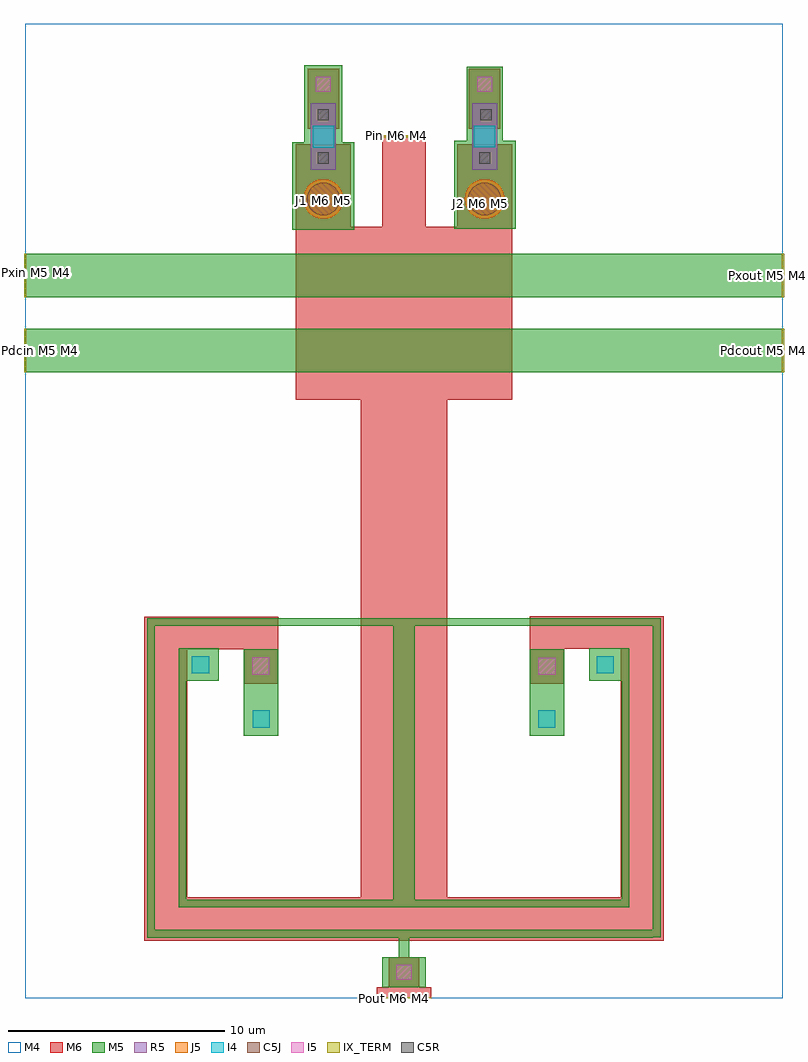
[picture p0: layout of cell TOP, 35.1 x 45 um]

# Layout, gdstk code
import gdstk
lib = gdstk.Library(unit=1e-6, precision=1e-09)
def R(c, l, rs):  # rectangles x0, y0, x1, y1
    for r in rs: c.add(gdstk.rectangle(r[:2], r[2:], *l))
def P(c, l, *ps):  # polygons
    for p in ps: c.add(gdstk.Polygon(p, *l))
IX_TERM = (19, 0)
M4 = (40, 0)
I4 = (41, 0)
M5 = (50, 0)
J5 = (51, 0)
R5 = (52, 0)
I5 = (54, 0)
C5J = (55, 0)
C5R = (56, 0)
M6 = (60, 0)

top = lib.new_cell('TOP')
R(top, IX_TERM, [(10.75,-32.034,13.25,-31.984), (11,7.716,13,7.817)])
R(top, M4, [(-5.5,-32.033,29.5,12.967)])
R(top, I4, [(18.192,-19.541,18.992,-18.741), (5.004,-19.54,5.799,-18.741), (2.196,-17.033,2.996,-16.233), (20.896,-17.031,21.696,-16.231), (7.776,7.249,8.776,8.249), (15.225,7.255,16.225,8.255)])
R(top, M5, [(11,-31.533,13,-30.133), (11.75,-30.133,12.25,-29.233), (0.148,-29.233,0.498,-14.833), (0.498,-29.233,23.498,-28.883), (23.498,-29.231,23.848,-14.831), (1.6,-27.832,22.4,-27.482), (1.596,-27.483,1.946,-15.883), (11.5,-27.483,12.5,-14.483), (22.046,-27.481,22.396,-15.881), (17.801,-19.917,19.402,-15.919), (4.6,-19.908,6.2,-15.908), (1.946,-17.383,3.446,-15.883), (20.546,-17.381,22.046,-15.881), (0.148,-14.833,23.848,-14.483), (-5.5,-3.126,29.5,-1.126), (-5.5,0.34,29.5,2.34), (6.85,3.449,9.7,7.499), (14.31,3.509,17.16,7.559), (7.4,7.499,9.15,11.049), (14.895,7.559,16.555,10.989)])
P(top, J5, [(8.21,3.964),(8.21,3.969),(8.16,3.969),(8.16,3.974),(8.125,3.974),(8.125,3.979),(8.1,3.979),(8.1,3.984),(8.075,3.984),(8.075,3.989),(8.055,3.989),(8.055,3.994),(8.035,3.994),(8.035,3.999),(8.015,3.999),(8.015,4.004),(8,4.004),(8,4.009),(7.985,4.009),(7.985,4.014),(7.97,4.014),(7.97,4.019),(7.955,4.019),(7.955,4.024),(7.945,4.024),(7.945,4.029),(7.93,4.029),(7.93,4.034),(7.92,4.034),(7.92,4.039),(7.91,4.039),(7.91,4.044),(7.895,4.044),(7.895,4.049),(7.885,4.049),(7.885,4.054),(7.875,4.054),(7.875,4.059),(7.865,4.059),(7.865,4.064),(7.855,4.064),(7.855,4.069),(7.85,4.069),(7.85,4.074),(7.835,4.074),(7.835,4.079),(7.83,4.079),(7.83,4.084),(7.82,4.084),(7.82,4.089),(7.81,4.089),(7.81,4.094),(7.8,4.094),(7.8,4.099),(7.795,4.099),(7.795,4.104),(7.785,4.104),(7.785,4.109),(7.78,4.109),(7.78,4.114),(7.77,4.114),(7.77,4.119),(7.765,4.119),(7.765,4.124),(7.755,4.124),(7.755,4.129),(7.75,4.129),(7.75,4.134),(7.74,4.134),(7.74,4.139),(7.735,4.139),(7.735,4.144),(7.73,4.144),(7.73,4.149),(7.72,4.149),(7.72,4.154),(7.715,4.154),(7.715,4.159),(7.71,4.159),(7.71,4.164),(7.705,4.164),(7.705,4.169),(7.695,4.169),(7.695,4.174),(7.69,4.174),(7.69,4.179),(7.685,4.179),(7.685,4.184),(7.68,4.184),(7.68,4.189),(7.675,4.189),(7.675,4.194),(7.67,4.194),(7.67,4.199),(7.665,4.199),(7.665,4.204),(7.66,4.204),(7.66,4.209),(7.655,4.209),(7.655,4.214),(7.65,4.214),(7.65,4.219),(7.645,4.219),(7.645,4.224),(7.64,4.224),(7.64,4.229),(7.635,4.229),(7.635,4.234),(7.63,4.234),(7.63,4.239),(7.625,4.239),(7.625,4.244),(7.62,4.244),(7.62,4.249),(7.615,4.249),(7.615,4.254),(7.61,4.254),(7.61,4.259),(7.605,4.259),(7.605,4.264),(7.6,4.264),(7.6,4.269),(7.595,4.269),(7.595,4.274),(7.585,4.274),(7.585,4.289),(7.58,4.289),(7.58,4.294),(7.575,4.294),(7.575,4.299),(7.565,4.299),(7.565,4.314),(7.56,4.314),(7.56,4.319),(7.555,4.319),(7.555,4.324),(7.545,4.324),(7.545,4.339),(7.54,4.339),(7.54,4.344),(7.53,4.344),(7.53,4.359),(7.52,4.359),(7.52,4.374),(7.51,4.374),(7.51,4.384),(7.505,4.384),(7.505,4.399),(7.495,4.399),(7.495,4.414),(7.485,4.414),(7.485,4.424),(7.48,4.424),(7.48,4.434),(7.475,4.434),(7.475,4.444),(7.47,4.444),(7.47,4.454),(7.465,4.454),(7.465,4.464),(7.46,4.464),(7.46,4.474),(7.455,4.474),(7.455,4.484),(7.45,4.484),(7.45,4.494),(7.445,4.494),(7.445,4.504),(7.44,4.504),(7.44,4.514),(7.435,4.514),(7.435,4.529),(7.43,4.529),(7.43,4.539),(7.425,4.539),(7.425,4.554),(7.42,4.554),(7.42,4.569),(7.415,4.569),(7.415,4.579),(7.41,4.579),(7.41,4.594),(7.405,4.594),(7.405,4.614),(7.4,4.614),(7.4,4.629),(7.395,4.629),(7.395,4.649),(7.39,4.649),(7.39,4.669),(7.385,4.669),(7.385,4.694),(7.38,4.694),(7.38,4.719),(7.375,4.719),(7.375,4.754),(7.37,4.754),(7.37,4.794),(7.365,4.794),(7.365,4.949),(7.37,4.949),(7.37,4.994),(7.375,4.994),(7.375,5.029),(7.38,5.029),(7.38,5.054),(7.385,5.054),(7.385,5.079),(7.39,5.079),(7.39,5.099),(7.395,5.099),(7.395,5.119),(7.4,5.119),(7.4,5.134),(7.405,5.134),(7.405,5.154),(7.41,5.154),(7.41,5.164),(7.415,5.164),(7.415,5.179),(7.42,5.179),(7.42,5.194),(7.425,5.194),(7.425,5.204),(7.43,5.204),(7.43,5.219),(7.435,5.219),(7.435,5.229),(7.44,5.229),(7.44,5.244),(7.445,5.244),(7.445,5.254),(7.45,5.254),(7.45,5.264),(7.455,5.264),(7.455,5.274),(7.46,5.274),(7.46,5.284),(7.465,5.284),(7.465,5.294),(7.47,5.294),(7.47,5.304),(7.475,5.304),(7.475,5.314),(7.48,5.314),(7.48,5.324),(7.485,5.324),(7.485,5.339),(7.495,5.339),(7.495,5.354),(7.505,5.354),(7.505,5.364),(7.51,5.364),(7.51,5.379),(7.52,5.379),(7.52,5.394),(7.525,5.394),(7.525,5.399),(7.535,5.399),(7.535,5.414),(7.54,5.414),(7.54,5.419),(7.55,5.419),(7.55,5.434),(7.555,5.434),(7.555,5.439),(7.565,5.439),(7.565,5.454),(7.57,5.454),(7.57,5.459),(7.575,5.459),(7.575,5.464),(7.58,5.464),(7.58,5.469),(7.585,5.469),(7.585,5.474),(7.59,5.474),(7.59,5.479),(7.6,5.479),(7.6,5.494),(7.605,5.494),(7.605,5.499),(7.61,5.499),(7.61,5.504),(7.615,5.504),(7.615,5.509),(7.62,5.509),(7.62,5.514),(7.625,5.514),(7.625,5.519),(7.63,5.519),(7.63,5.524),(7.635,5.524),(7.635,5.529),(7.645,5.529),(7.645,5.534),(7.65,5.534),(7.65,5.539),(7.655,5.539),(7.655,5.544),(7.66,5.544),(7.66,5.549),(7.665,5.549),(7.665,5.554),(7.67,5.554),(7.67,5.559),(7.675,5.559),(7.675,5.564),(7.68,5.564),(7.68,5.569),(7.685,5.569),(7.685,5.574),(7.695,5.574),(7.695,5.579),(7.7,5.579),(7.7,5.584),(7.705,5.584),(7.705,5.589),(7.71,5.589),(7.71,5.594),(7.72,5.594),(7.72,5.599),(7.725,5.599),(7.725,5.604),(7.73,5.604),(7.73,5.609),(7.74,5.609),(7.74,5.614),(7.745,5.614),(7.745,5.619),(7.75,5.619),(7.75,5.624),(7.76,5.624),(7.76,5.629),(7.765,5.629),(7.765,5.634),(7.775,5.634),(7.775,5.639),(7.785,5.639),(7.785,5.644),(7.79,5.644),(7.79,5.649),(7.8,5.649),(7.8,5.654),(7.805,5.654),(7.805,5.659),(7.815,5.659),(7.815,5.664),(7.825,5.664),(7.825,5.669),(7.835,5.669),(7.835,5.674),(7.84,5.674),(7.84,5.679),(7.85,5.679),(7.85,5.684),(7.86,5.684),(7.86,5.689),(7.87,5.689),(7.87,5.694),(7.88,5.694),(7.88,5.699),(7.895,5.699),(7.895,5.704),(7.9,5.704),(7.9,5.709),(7.915,5.709),(7.915,5.714),(7.93,5.714),(7.93,5.719),(7.94,5.719),(7.94,5.724),(7.95,5.724),(7.95,5.729),(7.965,5.729),(7.965,5.734),(7.98,5.734),(7.98,5.739),(7.995,5.739),(7.995,5.744),(8.01,5.744),(8.01,5.749),(8.025,5.749),(8.025,5.754),(8.045,5.754),(8.045,5.759),(8.07,5.759),(8.07,5.764),(8.09,5.764),(8.09,5.769),(8.115,5.769),(8.115,5.774),(8.145,5.774),(8.145,5.779),(8.19,5.779),(8.19,5.784),(8.36,5.784),(8.36,5.779),(8.4,5.779),(8.4,5.774),(8.435,5.774),(8.435,5.769),(8.455,5.769),(8.455,5.764),(8.48,5.764),(8.48,5.759),(8.5,5.759),(8.5,5.754),(8.52,5.754),(8.52,5.749),(8.535,5.749),(8.535,5.744),(8.555,5.744),(8.555,5.739),(8.57,5.739),(8.57,5.734),(8.58,5.734),(8.58,5.729),(8.595,5.729),(8.595,5.724),(8.61,5.724),(8.61,5.719),(8.62,5.719),(8.62,5.714),(8.635,5.714),(8.635,5.709),(8.645,5.709),(8.645,5.704),(8.655,5.704),(8.655,5.699),(8.665,5.699),(8.665,5.694),(8.675,5.694),(8.675,5.689),(8.685,5.689),(8.685,5.684),(8.695,5.684),(8.695,5.679),(8.705,5.679),(8.705,5.674),(8.715,5.674),(8.715,5.669),(8.725,5.669),(8.725,5.664),(8.73,5.664),(8.73,5.659),(8.74,5.659),(8.74,5.654),(8.75,5.654),(8.75,5.649),(8.755,5.649),(8.755,5.644),(8.765,5.644),(8.765,5.639),(8.77,5.639),(8.77,5.634),(8.78,5.634),(8.78,5.629),(8.79,5.629),(8.79,5.624),(8.795,5.624),(8.795,5.619),(8.805,5.619),(8.805,5.614),(8.81,5.614),(8.81,5.609),(8.815,5.609),(8.815,5.604),(8.825,5.604),(8.825,5.599),(8.83,5.599),(8.83,5.594),(8.835,5.594),(8.835,5.589),(8.84,5.589),(8.84,5.584),(8.85,5.584),(8.85,5.579),(8.855,5.579),(8.855,5.574),(8.86,5.574),(8.86,5.569),(8.865,5.569),(8.865,5.564),(8.87,5.564),(8.87,5.559),(8.88,5.559),(8.88,5.554),(8.885,5.554),(8.885,5.549),(8.89,5.549),(8.89,5.544),(8.895,5.544),(8.895,5.539),(8.9,5.539),(8.9,5.534),(8.905,5.534),(8.905,5.529),(8.91,5.529),(8.91,5.524),(8.92,5.524),(8.92,5.509),(8.925,5.509),(8.925,5.504),(8.93,5.504),(8.93,5.499),(8.935,5.499),(8.935,5.494),(8.94,5.494),(8.94,5.489),(8.945,5.489),(8.945,5.484),(8.95,5.484),(8.95,5.479),(8.955,5.479),(8.955,5.474),(8.96,5.474),(8.96,5.469),(8.97,5.469),(8.97,5.454),(8.975,5.454),(8.975,5.449),(8.98,5.449),(8.98,5.444),(8.99,5.444),(8.99,5.429),(8.995,5.429),(8.995,5.424),(9.005,5.424),(9.005,5.409),(9.01,5.409),(9.01,5.404),(9.02,5.404),(9.02,5.389),(9.03,5.389),(9.03,5.374),(9.04,5.374),(9.04,5.359),(9.05,5.359),(9.05,5.349),(9.055,5.349),(9.055,5.334),(9.065,5.334),(9.065,5.324),(9.07,5.324),(9.07,5.314),(9.075,5.314),(9.075,5.299),(9.085,5.299),(9.085,5.279),(9.095,5.279),(9.095,5.259),(9.105,5.259),(9.105,5.244),(9.11,5.244),(9.11,5.234),(9.115,5.234),(9.115,5.224),(9.12,5.224),(9.12,5.209),(9.125,5.209),(9.125,5.199),(9.13,5.199),(9.13,5.184),(9.135,5.184),(9.135,5.169),(9.14,5.169),(9.14,5.154),(9.145,5.154),(9.145,5.139),(9.15,5.139),(9.15,5.119),(9.155,5.119),(9.155,5.104),(9.16,5.104),(9.16,5.079),(9.165,5.079),(9.165,5.059),(9.17,5.059),(9.17,5.029),(9.175,5.029),(9.175,4.999),(9.18,4.999),(9.18,4.954),(9.185,4.954),(9.185,4.799),(9.18,4.799),(9.18,4.754),(9.175,4.754),(9.175,4.724),(9.17,4.724),(9.17,4.694),(9.165,4.694),(9.165,4.669),(9.16,4.669),(9.16,4.649),(9.155,4.649),(9.155,4.634),(9.15,4.634),(9.15,4.614),(9.145,4.614),(9.145,4.599),(9.14,4.599),(9.14,4.584),(9.135,4.584),(9.135,4.569),(9.13,4.569),(9.13,4.554),(9.125,4.554),(9.125,4.544),(9.12,4.544),(9.12,4.529),(9.115,4.529),(9.115,4.519),(9.11,4.519),(9.11,4.509),(9.105,4.509),(9.105,4.494),(9.1,4.494),(9.1,4.484),(9.095,4.484),(9.095,4.474),(9.09,4.474),(9.09,4.464),(9.085,4.464),(9.085,4.454),(9.08,4.454),(9.08,4.444),(9.075,4.444),(9.075,4.429),(9.065,4.429),(9.065,4.419),(9.06,4.419),(9.06,4.409),(9.055,4.409),(9.055,4.394),(9.045,4.394),(9.045,4.379),(9.035,4.379),(9.035,4.364),(9.025,4.364),(9.025,4.349),(9.015,4.349),(9.015,4.334),(9.01,4.334),(9.01,4.329),(9,4.329),(9,4.314),(8.995,4.314),(8.995,4.309),(8.99,4.309),(8.99,4.304),(8.98,4.304),(8.98,4.289),(8.975,4.289),(8.975,4.284),(8.97,4.284),(8.97,4.279),(8.965,4.279),(8.965,4.274),(8.96,4.274),(8.96,4.269),(8.955,4.269),(8.955,4.264),(8.95,4.264),(8.95,4.259),(8.945,4.259),(8.945,4.254),(8.94,4.254),(8.94,4.249),(8.935,4.249),(8.935,4.244),(8.93,4.244),(8.93,4.239),(8.925,4.239),(8.925,4.234),(8.92,4.234),(8.92,4.229),(8.915,4.229),(8.915,4.224),(8.91,4.224),(8.91,4.219),(8.905,4.219),(8.905,4.214),(8.9,4.214),(8.9,4.209),(8.895,4.209),(8.895,4.204),(8.89,4.204),(8.89,4.199),(8.885,4.199),(8.885,4.194),(8.88,4.194),(8.88,4.189),(8.875,4.189),(8.875,4.184),(8.865,4.184),(8.865,4.179),(8.86,4.179),(8.86,4.174),(8.855,4.174),(8.855,4.169),(8.85,4.169),(8.85,4.164),(8.84,4.164),(8.84,4.159),(8.835,4.159),(8.835,4.154),(8.83,4.154),(8.83,4.149),(8.825,4.149),(8.825,4.144),(8.815,4.144),(8.815,4.139),(8.81,4.139),(8.81,4.134),(8.8,4.134),(8.8,4.129),(8.795,4.129),(8.795,4.124),(8.79,4.124),(8.79,4.119),(8.78,4.119),(8.78,4.114),(8.775,4.114),(8.775,4.109),(8.765,4.109),(8.765,4.104),(8.755,4.104),(8.755,4.099),(8.75,4.099),(8.75,4.094),(8.74,4.094),(8.74,4.089),(8.735,4.089),(8.735,4.084),(8.725,4.084),(8.725,4.079),(8.715,4.079),(8.715,4.074),(8.705,4.074),(8.705,4.069),(8.695,4.069),(8.695,4.064),(8.685,4.064),(8.685,4.059),(8.675,4.059),(8.675,4.054),(8.665,4.054),(8.665,4.049),(8.655,4.049),(8.655,4.044),(8.645,4.044),(8.645,4.039),(8.635,4.039),(8.635,4.034),(8.62,4.034),(8.62,4.029),(8.605,4.029),(8.605,4.024),(8.595,4.024),(8.595,4.019),(8.58,4.019),(8.58,4.014),(8.565,4.014),(8.565,4.009),(8.55,4.009),(8.55,4.004),(8.535,4.004),(8.535,3.999),(8.515,3.999),(8.515,3.994),(8.5,3.994),(8.5,3.989),(8.48,3.989),(8.48,3.984),(8.455,3.984),(8.455,3.979),(8.425,3.979),(8.425,3.974),(8.39,3.974),(8.39,3.969),(8.34,3.969),(8.34,3.964)],
  [(15.66,3.964),(15.66,3.969),(15.61,3.969),(15.61,3.974),(15.575,3.974),(15.575,3.979),(15.55,3.979),(15.55,3.984),(15.525,3.984),(15.525,3.989),(15.505,3.989),(15.505,3.994),(15.485,3.994),(15.485,3.999),(15.465,3.999),(15.465,4.004),(15.45,4.004),(15.45,4.009),(15.435,4.009),(15.435,4.014),(15.42,4.014),(15.42,4.019),(15.405,4.019),(15.405,4.024),(15.395,4.024),(15.395,4.029),(15.38,4.029),(15.38,4.034),(15.37,4.034),(15.37,4.039),(15.36,4.039),(15.36,4.044),(15.345,4.044),(15.345,4.049),(15.335,4.049),(15.335,4.054),(15.325,4.054),(15.325,4.059),(15.315,4.059),(15.315,4.064),(15.305,4.064),(15.305,4.069),(15.3,4.069),(15.3,4.074),(15.285,4.074),(15.285,4.079),(15.28,4.079),(15.28,4.084),(15.27,4.084),(15.27,4.089),(15.26,4.089),(15.26,4.094),(15.25,4.094),(15.25,4.099),(15.245,4.099),(15.245,4.104),(15.235,4.104),(15.235,4.109),(15.23,4.109),(15.23,4.114),(15.22,4.114),(15.22,4.119),(15.215,4.119),(15.215,4.124),(15.205,4.124),(15.205,4.129),(15.2,4.129),(15.2,4.134),(15.19,4.134),(15.19,4.139),(15.185,4.139),(15.185,4.144),(15.18,4.144),(15.18,4.149),(15.17,4.149),(15.17,4.154),(15.165,4.154),(15.165,4.159),(15.16,4.159),(15.16,4.164),(15.155,4.164),(15.155,4.169),(15.145,4.169),(15.145,4.174),(15.14,4.174),(15.14,4.179),(15.135,4.179),(15.135,4.184),(15.13,4.184),(15.13,4.189),(15.125,4.189),(15.125,4.194),(15.12,4.194),(15.12,4.199),(15.115,4.199),(15.115,4.204),(15.11,4.204),(15.11,4.209),(15.105,4.209),(15.105,4.214),(15.1,4.214),(15.1,4.219),(15.095,4.219),(15.095,4.224),(15.09,4.224),(15.09,4.229),(15.085,4.229),(15.085,4.234),(15.08,4.234),(15.08,4.239),(15.075,4.239),(15.075,4.244),(15.07,4.244),(15.07,4.249),(15.065,4.249),(15.065,4.254),(15.06,4.254),(15.06,4.259),(15.055,4.259),(15.055,4.264),(15.05,4.264),(15.05,4.269),(15.045,4.269),(15.045,4.274),(15.035,4.274),(15.035,4.289),(15.03,4.289),(15.03,4.294),(15.025,4.294),(15.025,4.299),(15.015,4.299),(15.015,4.314),(15.01,4.314),(15.01,4.319),(15.005,4.319),(15.005,4.324),(14.995,4.324),(14.995,4.339),(14.99,4.339),(14.99,4.344),(14.98,4.344),(14.98,4.359),(14.97,4.359),(14.97,4.374),(14.96,4.374),(14.96,4.384),(14.955,4.384),(14.955,4.399),(14.945,4.399),(14.945,4.414),(14.935,4.414),(14.935,4.424),(14.93,4.424),(14.93,4.434),(14.925,4.434),(14.925,4.444),(14.92,4.444),(14.92,4.454),(14.915,4.454),(14.915,4.464),(14.91,4.464),(14.91,4.474),(14.905,4.474),(14.905,4.484),(14.9,4.484),(14.9,4.494),(14.895,4.494),(14.895,4.504),(14.89,4.504),(14.89,4.514),(14.885,4.514),(14.885,4.529),(14.88,4.529),(14.88,4.539),(14.875,4.539),(14.875,4.554),(14.87,4.554),(14.87,4.569),(14.865,4.569),(14.865,4.579),(14.86,4.579),(14.86,4.594),(14.855,4.594),(14.855,4.614),(14.85,4.614),(14.85,4.629),(14.845,4.629),(14.845,4.649),(14.84,4.649),(14.84,4.669),(14.835,4.669),(14.835,4.694),(14.83,4.694),(14.83,4.719),(14.825,4.719),(14.825,4.754),(14.82,4.754),(14.82,4.794),(14.815,4.794),(14.815,4.949),(14.82,4.949),(14.82,4.994),(14.825,4.994),(14.825,5.029),(14.83,5.029),(14.83,5.054),(14.835,5.054),(14.835,5.079),(14.84,5.079),(14.84,5.099),(14.845,5.099),(14.845,5.119),(14.85,5.119),(14.85,5.134),(14.855,5.134),(14.855,5.154),(14.86,5.154),(14.86,5.164),(14.865,5.164),(14.865,5.179),(14.87,5.179),(14.87,5.194),(14.875,5.194),(14.875,5.204),(14.88,5.204),(14.88,5.219),(14.885,5.219),(14.885,5.229),(14.89,5.229),(14.89,5.244),(14.895,5.244),(14.895,5.254),(14.9,5.254),(14.9,5.264),(14.905,5.264),(14.905,5.274),(14.91,5.274),(14.91,5.284),(14.915,5.284),(14.915,5.294),(14.92,5.294),(14.92,5.304),(14.925,5.304),(14.925,5.314),(14.93,5.314),(14.93,5.324),(14.935,5.324),(14.935,5.339),(14.945,5.339),(14.945,5.354),(14.955,5.354),(14.955,5.364),(14.96,5.364),(14.96,5.379),(14.97,5.379),(14.97,5.394),(14.975,5.394),(14.975,5.399),(14.985,5.399),(14.985,5.414),(14.99,5.414),(14.99,5.419),(15,5.419),(15,5.434),(15.005,5.434),(15.005,5.439),(15.015,5.439),(15.015,5.454),(15.02,5.454),(15.02,5.459),(15.025,5.459),(15.025,5.464),(15.03,5.464),(15.03,5.469),(15.035,5.469),(15.035,5.474),(15.04,5.474),(15.04,5.479),(15.05,5.479),(15.05,5.494),(15.055,5.494),(15.055,5.499),(15.06,5.499),(15.06,5.504),(15.065,5.504),(15.065,5.509),(15.07,5.509),(15.07,5.514),(15.075,5.514),(15.075,5.519),(15.08,5.519),(15.08,5.524),(15.085,5.524),(15.085,5.529),(15.095,5.529),(15.095,5.534),(15.1,5.534),(15.1,5.539),(15.105,5.539),(15.105,5.544),(15.11,5.544),(15.11,5.549),(15.115,5.549),(15.115,5.554),(15.12,5.554),(15.12,5.559),(15.125,5.559),(15.125,5.564),(15.13,5.564),(15.13,5.569),(15.135,5.569),(15.135,5.574),(15.145,5.574),(15.145,5.579),(15.15,5.579),(15.15,5.584),(15.155,5.584),(15.155,5.589),(15.16,5.589),(15.16,5.594),(15.17,5.594),(15.17,5.599),(15.175,5.599),(15.175,5.604),(15.18,5.604),(15.18,5.609),(15.19,5.609),(15.19,5.614),(15.195,5.614),(15.195,5.619),(15.2,5.619),(15.2,5.624),(15.21,5.624),(15.21,5.629),(15.215,5.629),(15.215,5.634),(15.225,5.634),(15.225,5.639),(15.235,5.639),(15.235,5.644),(15.24,5.644),(15.24,5.649),(15.25,5.649),(15.25,5.654),(15.255,5.654),(15.255,5.659),(15.265,5.659),(15.265,5.664),(15.275,5.664),(15.275,5.669),(15.285,5.669),(15.285,5.674),(15.29,5.674),(15.29,5.679),(15.3,5.679),(15.3,5.684),(15.31,5.684),(15.31,5.689),(15.32,5.689),(15.32,5.694),(15.33,5.694),(15.33,5.699),(15.345,5.699),(15.345,5.704),(15.35,5.704),(15.35,5.709),(15.365,5.709),(15.365,5.714),(15.38,5.714),(15.38,5.719),(15.39,5.719),(15.39,5.724),(15.4,5.724),(15.4,5.729),(15.415,5.729),(15.415,5.734),(15.43,5.734),(15.43,5.739),(15.445,5.739),(15.445,5.744),(15.46,5.744),(15.46,5.749),(15.475,5.749),(15.475,5.754),(15.495,5.754),(15.495,5.759),(15.52,5.759),(15.52,5.764),(15.54,5.764),(15.54,5.769),(15.565,5.769),(15.565,5.774),(15.595,5.774),(15.595,5.779),(15.64,5.779),(15.64,5.784),(15.81,5.784),(15.81,5.779),(15.85,5.779),(15.85,5.774),(15.885,5.774),(15.885,5.769),(15.905,5.769),(15.905,5.764),(15.93,5.764),(15.93,5.759),(15.95,5.759),(15.95,5.754),(15.97,5.754),(15.97,5.749),(15.985,5.749),(15.985,5.744),(16.005,5.744),(16.005,5.739),(16.02,5.739),(16.02,5.734),(16.03,5.734),(16.03,5.729),(16.045,5.729),(16.045,5.724),(16.06,5.724),(16.06,5.719),(16.07,5.719),(16.07,5.714),(16.085,5.714),(16.085,5.709),(16.095,5.709),(16.095,5.704),(16.105,5.704),(16.105,5.699),(16.115,5.699),(16.115,5.694),(16.125,5.694),(16.125,5.689),(16.135,5.689),(16.135,5.684),(16.145,5.684),(16.145,5.679),(16.155,5.679),(16.155,5.674),(16.165,5.674),(16.165,5.669),(16.175,5.669),(16.175,5.664),(16.18,5.664),(16.18,5.659),(16.19,5.659),(16.19,5.654),(16.2,5.654),(16.2,5.649),(16.205,5.649),(16.205,5.644),(16.215,5.644),(16.215,5.639),(16.22,5.639),(16.22,5.634),(16.23,5.634),(16.23,5.629),(16.24,5.629),(16.24,5.624),(16.245,5.624),(16.245,5.619),(16.255,5.619),(16.255,5.614),(16.26,5.614),(16.26,5.609),(16.265,5.609),(16.265,5.604),(16.275,5.604),(16.275,5.599),(16.28,5.599),(16.28,5.594),(16.285,5.594),(16.285,5.589),(16.29,5.589),(16.29,5.584),(16.3,5.584),(16.3,5.579),(16.305,5.579),(16.305,5.574),(16.31,5.574),(16.31,5.569),(16.315,5.569),(16.315,5.564),(16.32,5.564),(16.32,5.559),(16.33,5.559),(16.33,5.554),(16.335,5.554),(16.335,5.549),(16.34,5.549),(16.34,5.544),(16.345,5.544),(16.345,5.539),(16.35,5.539),(16.35,5.534),(16.355,5.534),(16.355,5.529),(16.36,5.529),(16.36,5.524),(16.37,5.524),(16.37,5.509),(16.375,5.509),(16.375,5.504),(16.38,5.504),(16.38,5.499),(16.385,5.499),(16.385,5.494),(16.39,5.494),(16.39,5.489),(16.395,5.489),(16.395,5.484),(16.4,5.484),(16.4,5.479),(16.405,5.479),(16.405,5.474),(16.41,5.474),(16.41,5.469),(16.42,5.469),(16.42,5.454),(16.425,5.454),(16.425,5.449),(16.43,5.449),(16.43,5.444),(16.44,5.444),(16.44,5.429),(16.445,5.429),(16.445,5.424),(16.455,5.424),(16.455,5.409),(16.46,5.409),(16.46,5.404),(16.47,5.404),(16.47,5.389),(16.48,5.389),(16.48,5.374),(16.49,5.374),(16.49,5.359),(16.5,5.359),(16.5,5.349),(16.505,5.349),(16.505,5.334),(16.515,5.334),(16.515,5.324),(16.52,5.324),(16.52,5.314),(16.525,5.314),(16.525,5.299),(16.535,5.299),(16.535,5.279),(16.545,5.279),(16.545,5.259),(16.555,5.259),(16.555,5.244),(16.56,5.244),(16.56,5.234),(16.565,5.234),(16.565,5.224),(16.57,5.224),(16.57,5.209),(16.575,5.209),(16.575,5.199),(16.58,5.199),(16.58,5.184),(16.585,5.184),(16.585,5.169),(16.59,5.169),(16.59,5.154),(16.595,5.154),(16.595,5.139),(16.6,5.139),(16.6,5.119),(16.605,5.119),(16.605,5.104),(16.61,5.104),(16.61,5.079),(16.615,5.079),(16.615,5.059),(16.62,5.059),(16.62,5.029),(16.625,5.029),(16.625,4.999),(16.63,4.999),(16.63,4.954),(16.635,4.954),(16.635,4.799),(16.63,4.799),(16.63,4.754),(16.625,4.754),(16.625,4.724),(16.62,4.724),(16.62,4.694),(16.615,4.694),(16.615,4.669),(16.61,4.669),(16.61,4.649),(16.605,4.649),(16.605,4.634),(16.6,4.634),(16.6,4.614),(16.595,4.614),(16.595,4.599),(16.59,4.599),(16.59,4.584),(16.585,4.584),(16.585,4.569),(16.58,4.569),(16.58,4.554),(16.575,4.554),(16.575,4.544),(16.57,4.544),(16.57,4.529),(16.565,4.529),(16.565,4.519),(16.56,4.519),(16.56,4.509),(16.555,4.509),(16.555,4.494),(16.55,4.494),(16.55,4.484),(16.545,4.484),(16.545,4.474),(16.54,4.474),(16.54,4.464),(16.535,4.464),(16.535,4.454),(16.53,4.454),(16.53,4.444),(16.525,4.444),(16.525,4.429),(16.515,4.429),(16.515,4.419),(16.51,4.419),(16.51,4.409),(16.505,4.409),(16.505,4.394),(16.495,4.394),(16.495,4.379),(16.485,4.379),(16.485,4.364),(16.475,4.364),(16.475,4.349),(16.465,4.349),(16.465,4.334),(16.46,4.334),(16.46,4.329),(16.45,4.329),(16.45,4.314),(16.445,4.314),(16.445,4.309),(16.44,4.309),(16.44,4.304),(16.43,4.304),(16.43,4.289),(16.425,4.289),(16.425,4.284),(16.42,4.284),(16.42,4.279),(16.415,4.279),(16.415,4.274),(16.41,4.274),(16.41,4.269),(16.405,4.269),(16.405,4.264),(16.4,4.264),(16.4,4.259),(16.395,4.259),(16.395,4.254),(16.39,4.254),(16.39,4.249),(16.385,4.249),(16.385,4.244),(16.38,4.244),(16.38,4.239),(16.375,4.239),(16.375,4.234),(16.37,4.234),(16.37,4.229),(16.365,4.229),(16.365,4.224),(16.36,4.224),(16.36,4.219),(16.355,4.219),(16.355,4.214),(16.35,4.214),(16.35,4.209),(16.345,4.209),(16.345,4.204),(16.34,4.204),(16.34,4.199),(16.335,4.199),(16.335,4.194),(16.33,4.194),(16.33,4.189),(16.325,4.189),(16.325,4.184),(16.315,4.184),(16.315,4.179),(16.31,4.179),(16.31,4.174),(16.305,4.174),(16.305,4.169),(16.3,4.169),(16.3,4.164),(16.29,4.164),(16.29,4.159),(16.285,4.159),(16.285,4.154),(16.28,4.154),(16.28,4.149),(16.275,4.149),(16.275,4.144),(16.265,4.144),(16.265,4.139),(16.26,4.139),(16.26,4.134),(16.25,4.134),(16.25,4.129),(16.245,4.129),(16.245,4.124),(16.24,4.124),(16.24,4.119),(16.23,4.119),(16.23,4.114),(16.225,4.114),(16.225,4.109),(16.215,4.109),(16.215,4.104),(16.205,4.104),(16.205,4.099),(16.2,4.099),(16.2,4.094),(16.19,4.094),(16.19,4.089),(16.185,4.089),(16.185,4.084),(16.175,4.084),(16.175,4.079),(16.165,4.079),(16.165,4.074),(16.155,4.074),(16.155,4.069),(16.145,4.069),(16.145,4.064),(16.135,4.064),(16.135,4.059),(16.125,4.059),(16.125,4.054),(16.115,4.054),(16.115,4.049),(16.105,4.049),(16.105,4.044),(16.095,4.044),(16.095,4.039),(16.085,4.039),(16.085,4.034),(16.07,4.034),(16.07,4.029),(16.055,4.029),(16.055,4.024),(16.045,4.024),(16.045,4.019),(16.03,4.019),(16.03,4.014),(16.015,4.014),(16.015,4.009),(16,4.009),(16,4.004),(15.985,4.004),(15.985,3.999),(15.965,3.999),(15.965,3.994),(15.95,3.994),(15.95,3.989),(15.93,3.989),(15.93,3.984),(15.905,3.984),(15.905,3.979),(15.875,3.979),(15.875,3.974),(15.84,3.974),(15.84,3.969),(15.79,3.969),(15.79,3.964)])
R(top, R5, [(7.7,6.224,8.85,9.299), (15.15,6.224,16.3,9.299)])
R(top, I5, [(11.65,-31.183,12.35,-30.483), (18.211,-17.107,19.011,-16.307), (4.981,-17.09,5.781,-16.29), (7.925,9.824,8.625,10.524), (15.375,9.824,16.075,10.524)])
P(top, C5J, [(8.275,4.114),(8.125,4.124),(7.985,4.174),(7.855,4.244),(7.735,4.334),(7.645,4.454),(7.575,4.584),(7.525,4.724),(7.515,4.874),(7.525,5.024),(7.575,5.164),(7.645,5.294),(7.735,5.414),(7.855,5.504),(7.985,5.574),(8.125,5.624),(8.275,5.634),(8.425,5.624),(8.565,5.574),(8.695,5.504),(8.815,5.414),(8.905,5.294),(8.975,5.164),(9.025,5.024),(9.035,4.874),(9.025,4.724),(8.975,4.584),(8.905,4.454),(8.815,4.334),(8.695,4.244),(8.565,4.174),(8.425,4.124)],
  [(15.725,4.114),(15.575,4.124),(15.435,4.174),(15.305,4.244),(15.185,4.334),(15.095,4.454),(15.025,4.584),(14.975,4.724),(14.965,4.874),(14.975,5.024),(15.025,5.164),(15.095,5.294),(15.185,5.414),(15.305,5.504),(15.435,5.574),(15.575,5.624),(15.725,5.634),(15.875,5.624),(16.015,5.574),(16.145,5.504),(16.265,5.414),(16.355,5.294),(16.425,5.164),(16.475,5.024),(16.485,4.874),(16.475,4.724),(16.425,4.584),(16.355,4.454),(16.265,4.334),(16.145,4.244),(16.015,4.174),(15.875,4.124)])
R(top, C5R, [(8.015,6.514,8.535,7.034), (15.465,6.514,15.985,7.034), (8.015,8.504,8.535,9.024), (15.525,8.504,16.045,9.024)])
R(top, M6, [(10.75,-32.033,13.25,-31.533), (11.3,-31.533,12.7,-30.133), (0,-29.381,10,-27.381), (10,-29.381,14,-4.381), (14,-29.381,24,-27.381), (0,-27.408,2,-14.408), (22,-27.405,24,-14.405), (4.6,-17.508,6.2,-15.908), (17.8,-17.505,19.4,-15.905), (2,-15.909,6.2,-14.409), (17.8,-15.905,22,-14.405), (7,-4.4,17,-0.4), (7,-0.401,17,3.599), (11,3.556,13,7.792), (7,3.599,9.55,7.399), (14.45,3.599,17,7.399), (7.55,8.124,9,10.899), (15,8.124,16.45,10.899)])
top.add(gdstk.FlexPath([(-5.5,2.34),(-5.5,0.34)], 0.1, ends="flush", simple_path=True, layer=19, datatype=0))  # IX_TERM
top.add(gdstk.FlexPath([(29.5,2.34),(29.5,0.34),(29.5,0.34)], 0.1, ends="flush", simple_path=True, layer=19, datatype=0))  # IX_TERM
top.add(gdstk.FlexPath([(29.5,-1.126),(29.5,-3.126),(29.5,-3.126)], 0.1, ends="flush", simple_path=True, layer=19, datatype=0))  # IX_TERM
top.add(gdstk.FlexPath([(-5.5,-1.126),(-5.5,-3.126)], 0.1, ends="flush", simple_path=True, layer=19, datatype=0))  # IX_TERM
top.add(gdstk.Label('Pxin M5 M4', (-5.5,1.499), layer=182, texttype=0))
top.add(gdstk.Label('Pdcin M5 M4', (-5.5,-2.11), layer=182, texttype=0))
top.add(gdstk.Label('Pxout M5 M4', (29.5,1.343), layer=182, texttype=0))
top.add(gdstk.Label('Pdcout M5 M4', (29.5,-2.141), layer=182, texttype=0))
top.add(gdstk.Label('Pin M6 M4', (11.645,7.792), layer=182, texttype=0))
top.add(gdstk.Label('Pout M6 M4', (11.573,-32.033), layer=182, texttype=0))
top.add(gdstk.Label('J2 M6 M5', (15.554,4.671), layer=182, texttype=0))
top.add(gdstk.Label('J1 M6 M5', (8.283,4.816), layer=182, texttype=0))

lib.write_gds('TOP.gds')
